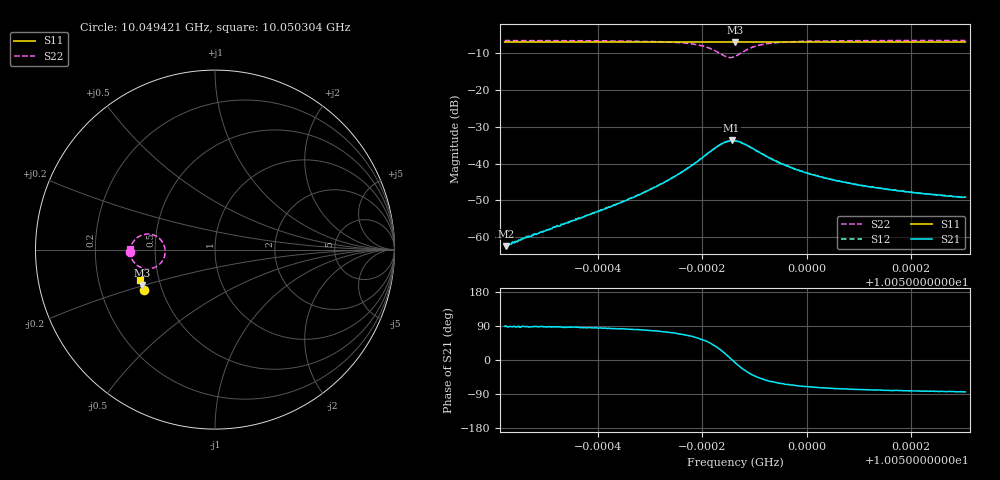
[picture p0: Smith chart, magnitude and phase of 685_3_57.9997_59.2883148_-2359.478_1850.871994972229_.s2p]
#  HZ  S  RI  R  50.00
! Rohde & Schwarz Vector Network Analyzer
! Rohde-Schwarz,ZNB20-2Port,1311601062101988,3.16
! Created: UTC 3/21/2024, 1:21:02 AM
! freq[Hz]  re:S11  im:S11  re:S21  im:S21  re:S12  im:S12  re:S22  im:S22
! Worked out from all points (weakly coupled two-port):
!   401 points, 10.049421 GHz to 10.050304 GHz, reference 50 ohm
!   highest |S21| = -33.71 dB at 10.049856 GHz (marker M1); lowest = -62.5 dB at 10.049423 GHz (marker M2)
!   lowest |S11| = -6.9 dB at 10.049863 GHz (marker M3), VSWR 2.64, Z = 19.8 - j9.76 ohm
!   |S11| at or under -10 dB: nowhere
!   |S22| runs from -11.1 to -6.5 dB; largest |S21 - S12| = 0.0015
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1.00494211e10  -0.3956 -0.223  1.46e-05 0.000764  -1.08e-05 0.000749  -0.4738 -0.0146
1.00494233e10  -0.3956 -0.223  -4.28e-06 0.000754  -3.06e-05 0.000786  -0.4738 -0.0143
1.00495691e10  -0.4 -0.2143  0.000133 0.00185  3.18e-05 0.00185  -0.4712 0.00547
1.00496486e10  -0.4023 -0.2093  0.000406 0.00302  0.000255 0.00307  -0.4667 0.0215
1.0049717e10  -0.4042 -0.2052  0.00123 0.00493  0.000971 0.00502  -0.4557 0.0433
1.00497502e10  -0.405 -0.2029  0.00233 0.00645  0.00196 0.0066  -0.4429 0.0587
1.00497789e10  -0.4056 -0.2011  0.00425 0.00828  0.00382 0.00851  -0.4212 0.0748
1.00497987e10  -0.4061 -0.1996  0.00686 0.00952  0.00631 0.00993  -0.3942 0.0848
1.00498164e10  -0.4062 -0.1984  0.0106 0.0102  0.0101 0.0107  -0.357 0.0851
1.00498407e10  -0.406 -0.1972  0.0179 0.00686  0.0174 0.00774  -0.2935 0.0431
1.00498495e10  -0.406 -0.197  0.0199 0.00348  0.0194 0.00465  -0.2797 0.0103
1.00498562e10  -0.4059 -0.1969  0.0206 0.000405  0.0203 0.00185  -0.2778 -0.0177
1.00498628e10  -0.406 -0.1966  0.0202 -0.00244  0.0202 -0.00102  -0.2841 -0.0449
1.00498849e10  -0.407 -0.1962  0.0154 -0.00901  0.016 -0.008  -0.3391 -0.1006
1.00499158e10  -0.4085 -0.1946  0.00845 -0.0103  0.00928 -0.00988  -0.407 -0.1018
1.00499489e10  -0.4098 -0.1927  0.00491 -0.00885  0.00539 -0.00867  -0.4407 -0.0817
1.00499732e10  -0.4107 -0.1911  0.0036 -0.00789  0.00397 -0.00774  -0.4531 -0.0682
1.00500108e10  -0.4118 -0.1888  0.00226 -0.00671  0.00267 -0.00664  -0.4629 -0.0521
1.00500925e10  -0.414 -0.1836  0.00111 -0.00509  0.00145 -0.00507  -0.4713 -0.0295
1.00501587e10  -0.4157 -0.1796  0.00075 -0.00434  0.000989 -0.00434  -0.4737 -0.0173
1.00502669e10  -0.4184 -0.1728  0.000425 -0.00361  0.000626 -0.0036  -0.475 -0.00257
1.00503045e10  -0.4194 -0.1705  0.000361 -0.00347  0.000589 -0.00342  -0.4754 0.0016
